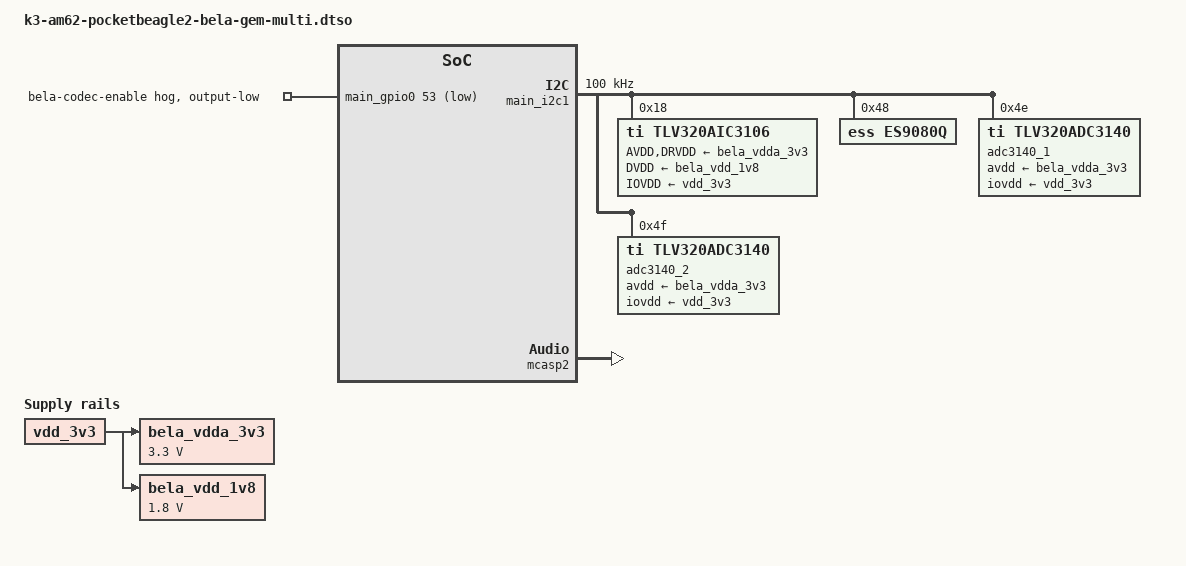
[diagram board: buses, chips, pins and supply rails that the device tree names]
// SPDX-License-Identifier: GPL-2.0
/*
 * PocketBeagle2 + Bela Gem Multi audio overlay
 *
 * Targets the custom machine driver am625-bela-gem.c
 * (compatible "ti,am625-bela-gem-multi").
 *
 * Codecs on main_i2c1 (bus shows as /dev/i2c-2):
 *   TLV320AIC3106  @0x18  — stereo I/O, clock slave (BCLK/WCLK from McASP)
 *   ES9080Q        @0x48  — 8-channel DAC, clock slave (write-only @0x4c)
 *   TLV320ADC3140  @0x4e  — 4-channel ADC #1, clock slave (capture)
 *   TLV320ADC3140  @0x4f  — 4-channel ADC #2, clock slave (capture)
 *   (ADC addresses confirmed with `i2cdetect -y 2` at bring-up; adjust reg if needed.)
 *
 * Clock topology (McASP is BCLK+WCLK master; AIC3106 and all other codecs are
 * clock slaves on the TDM bus):
 *   audio_refclk1 (12.288 MHz) -> P2.11 MCLK -> codec MCLK inputs
 *   mcasp2 fck (24.576 MHz, pinned via assigned-clock-rates) divided by 2 ->
 *   P2.19 BCLK (12.288 MHz) + P2.10 WCLK (48 kHz) -> all codec BCLK/WCLK inputs
 *   Machine driver does clk_get(dev,"mclk") + clk_prepare_enable(), so the
 *   sound node carries clocks=<&audio_refclk1>, clock-names="mclk".
 *
 * Shared McASP2 frame: 8 slots x 32-bit, DSP_B (TDM). Each codec uses its OWN
 * serializer (data pin) and emits/consumes its channels from slot 0 of that line:
 *   AXR0 (P2.05) TX -> TLV DIN   (playback, slots 0-1)
 *   AXR1 (P2.07) RX <- TLV DOUT  (capture,  slots 0-1)
 *   AXR6 (P1.04) TX -> ES9080Q DIN1 (8ch TDM8, slots 0-7; single data line)
 *   AXR4 (P1.02) RX <- ADC3140 #1 DOUT (4ch, slots 0-3)
 *   AXR8 (P2.31) RX <- ADC3140 #2 DOUT (4ch, slots 0-3)
 *
 * AXR direction = hardware ground truth (scope under Bela runtime + validated
 * Stereo overlay): AXR0=TX, AXR1=RX. serial-dir convention: 0=off, 1=TX, 2=RX.
 *
 * Pin map (PocketBeagle2 header -> AM62 pad, verified vs PB2-BELA.dtso):
 *   P1.33 I2C1_SDA   P1.36 I2C1_SCL
 *   P2.05 AXR0  P2.07 AXR1  P1.04 AXR6  P1.02 AXR4  P2.31 AXR8
 *   P2.10 AFSX/WCLK(out) P2.19 ACLKX/BCLK(out) P2.11 AUDIO_EXT_REFCLK1/MCLK(out)
 *   P2.18 GPIO0_53 -> ES9080 CHIP_EN / ADC_RST# (hogged active, needs JP8 bridged)
 */

#include <dt-bindings/gpio/gpio.h>
#include "k3-pinctrl.h"

/dts-v1/;
/plugin/;

&{/chosen} {
	overlays {
		k3-am62-pocketbeagle2-bela-gem-multi.kernel = __TIMESTAMP__;
	};
};

/* Regulators + machine-driver sound card */
&{/} {
	bela_vdda_3v3: regulator-bela-vdda-3v3 {
		compatible = "regulator-fixed";
		regulator-name = "bela_vdda_3v3";
		regulator-min-microvolt = <3300000>;
		regulator-max-microvolt = <3300000>;
		vin-supply = <&vdd_3v3>;
		regulator-always-on;
		regulator-boot-on;
	};

	bela_vdd_1v8: regulator-bela-vdd-1v8 {
		compatible = "regulator-fixed";
		regulator-name = "bela_vdd_1v8";
		regulator-min-microvolt = <1800000>;
		regulator-max-microvolt = <1800000>;
		vin-supply = <&vdd_3v3>;
		regulator-always-on;
		regulator-boot-on;
	};

	bela_multi_sound: sound {
		compatible = "ti,am625-bela-gem-multi";
		model = "BelaGemMulti";

		cpu-dai        = <&mcasp2>;
		aic3106-codec  = <&tlv320aic3106>;
		es9080q-codec  = <&es9080q>;
		adc3140-1-codec = <&adc3140_1>;
		adc3140-2-codec = <&adc3140_2>;

		/* machine driver: devm_clk_get(dev, "mclk") + clk_prepare_enable() */
		clocks = <&audio_refclk1>;
		clock-names = "mclk";
	};
};

&main_pmx0 {
	bela_multi_i2c1_pins: bela-multi-i2c1-pins {
		pinctrl-single,pins = <
			AM62X_IOPAD(0x01e8, PIN_INPUT_PULLUP, 0) /* (B17) I2C1_SCL, P1.36 AUD_SCL */
			AM62X_IOPAD(0x01ec, PIN_INPUT_PULLUP, 0) /* (A17) I2C1_SDA, P1.33 AUD_SDA */
		>;
	};

	/* I2C pull-up compensation (marginal cape routing) — as PB2-BELA.dtso */
	bela_multi_i2c1_pullup_sda: bela-multi-i2c1-pullup-sda-pins {
		pinctrl-single,pins = <
			AM62X_IOPAD(0x00e4, PIN_INPUT_PULLUP, 7) /* (AA23) GPIO0_56 pullup for SDA */
		>;
	};
	bela_multi_i2c1_pullup_scl: bela-multi-i2c1-pullup-scl-pins {
		pinctrl-single,pins = <
			AM62X_IOPAD(0x00e0, PIN_INPUT_PULLUP, 7) /* (V20) GPIO0_55 pullup for SCL */
		>;
	};

	bela_multi_audio_pins: bela-multi-audio-pins {
		pinctrl-single,pins = <
			AM62X_IOPAD(0x01d8, PIN_OUTPUT, 8) /* (C15) MCASP2_AXR0, P2.05 TX -> TLV DIN (playback) */
			AM62X_IOPAD(0x01dc, PIN_INPUT,  8) /* (E15) MCASP2_AXR1, P2.07 RX <- TLV DOUT (capture) */
			AM62X_IOPAD(0x0174, PIN_OUTPUT, 2) /* (AD21) MCASP2_AFSX,  P2.10 WCLK (McASP-driven, frame master) */
			AM62X_IOPAD(0x0178, PIN_OUTPUT, 2) /* (AC20) MCASP2_ACLKX, P2.19 BCLK (McASP-driven, bit-clock master) */
			AM62X_IOPAD(0x016c, PIN_OUTPUT, 2) /* (Y18) MCASP2_AXR6,  P1.04 TX -> ES9080Q DIN1 (8ch) */
			AM62X_IOPAD(0x0164, PIN_INPUT,  2) /* (AA19) MCASP2_AXR4, P1.02 RX <- ADC3140 #1 DOUT */
			AM62X_IOPAD(0x0170, PIN_INPUT,  5) /* (AA18) MCASP2_AXR8, P2.31 RX <- ADC3140 #2 DOUT */
		>;
	};

	bela_multi_mclk_pins: bela-multi-mclk-pins {
		pinctrl-single,pins = <
			AM62X_IOPAD(0x01d4, PIN_OUTPUT, 5) /* (B15) AUDIO_EXT_REFCLK1, P2.11 MCLK out */
		>;
	};

	bela_multi_ctrl_pins: bela-multi-ctrl-pins {
		pinctrl-single,pins = <
			AM62X_IOPAD(0x00d8, PIN_OUTPUT, 7) /* (V21) GPIO0_53, P2.18 ES9080 CHIP_EN / ADC_RST# */
		>;
	};
};

&audio_refclk1 {
	/* 12.288 MHz (96 MHz / 8). Machine driver enables this as "mclk". */
	assigned-clock-rates = <12288000>;
	pinctrl-names = "default";
	pinctrl-0 = <&bela_multi_mclk_pins>;
};

/*
 * GPIO0_53 (P2.18) is a SHARED codec control line:
 *   - ES9080Q CHIP_EN       (active-high enable, via JP8)
 *   - TLV320ADC3140 RESETN  (active-low reset, same physical net)
 *
 * It must be driven STATICALLY HIGH and held there. A static gpio-hog
 * (ACTIVE_LOW + output-low => raw pad HIGH) enables the ES9080Q and
 * simultaneously holds both ADC3140s out of reset. It must NOT be used as a
 * pulsed reset-gpios: asserting it low to "reset" the ADCs also drops ES9080Q
 * CHIP_EN, which then fails its I2C probe with -121 (EREMOTEIO). The ADCs do
 * not need a reset pulse here -- their supplies are stable at boot, so a
 * static raw-HIGH releases them cleanly.
 */
&main_gpio0 {
	pinctrl-names = "default";
	pinctrl-0 = <&bela_multi_ctrl_pins>;

	bela_codec_enable {
		gpio-hog;
		gpios = <53 GPIO_ACTIVE_LOW>;
		output-low;	/* ACTIVE_LOW + output-low => raw pad HIGH */
		line-name = "bela-codec-enable";
	};
};

&main_i2c1 {
	#address-cells = <1>;
	#size-cells = <0>;
	status = "okay";
	clock-frequency = <100000>;
	pinctrl-names = "default";
	pinctrl-0 = <&bela_multi_i2c1_pins>,
		    <&bela_multi_i2c1_pullup_sda>,
		    <&bela_multi_i2c1_pullup_scl>;

	tlv320aic3106: audio-codec@18 {
		compatible = "ti,tlv320aic3106";
		reg = <0x18>;
		#sound-dai-cells = <0>;
		clocks = <&audio_refclk1>;
		AVDD-supply  = <&bela_vdda_3v3>;
		DVDD-supply  = <&bela_vdd_1v8>;
		DRVDD-supply = <&bela_vdda_3v3>;
		IOVDD-supply = <&vdd_3v3>;
	};

	es9080q: dac@48 {
		compatible = "ess,es9080q";
		reg = <0x48>;
		#sound-dai-cells = <0>;
		ess,write-only-addr = <0x4c>;
		clocks = <&audio_refclk1>;
		clock-names = "mclk";
	};

	/*
	 * TLV320ADC3140 quad-channel ADCs. Both are TDM/DSP_B capture slaves,
	 * clocked by the AIC3106 BCLK/WCLK. Each drives its own McASP RX
	 * serializer (AXR4 / AXR8). avdd = 3.3V, iovdd = 3.3V (board rails).
	 * The on-chip areg LDO supplies the 1.8V analog domain (no "areg" phandle).
	 * RESETN shares GPIO0_53 with ES9080 CHIP_EN and is held HIGH by the
	 * bela_codec_enable hog above. We deliberately do NOT use reset-gpios here:
	 * a pulsed reset would also drop ES9080Q CHIP_EN and break its probe.
 */
	adc3140_1: adc@4e {
		compatible = "ti,tlv320adc3140";
		reg = <0x4e>;
		#sound-dai-cells = <0>;
		avdd-supply  = <&bela_vdda_3v3>;
		iovdd-supply = <&vdd_3v3>;
	};

	adc3140_2: adc@4f {
		compatible = "ti,tlv320adc3140";
		reg = <0x4f>;
		#sound-dai-cells = <0>;
		avdd-supply  = <&bela_vdda_3v3>;
		iovdd-supply = <&vdd_3v3>;
	};
};

/* McASP2 — shared TDM bus, BCLK/WCLK slave to TLV320AIC3106 */
&mcasp2 {
	#sound-dai-cells = <0>;
	pinctrl-names = "default";
	pinctrl-0 = <&bela_multi_audio_pins>;
	status = "okay";

	/*
	 * McASP2 is the BCLK + WCLK (frame) master for the whole TDM bus; all
	 * codecs are clock consumers. A stereo codec (TLV320AIC3106) cannot
	 * master a frame wider than its 2 channels, so the McASP generates the
	 * 8-slot frame instead. The functional clock is pinned to 24.576 MHz
	 * below, and the machine driver passes the same rate via set_sysclk so
	 * the McASP programs the BCLK divider: 24.576 MHz / 2 = 12.288 MHz
	 * (= 256 * 48 kHz = 8 slots * 32 bits * 48 kHz). auxclk-fs-ratio is
	 * also present for rate-constraint negotiation but is not sufficient
	 * alone (does not program the BCLK divider hardware).
	 */
	assigned-clocks = <&k3_clks 192 0>;
	assigned-clock-rates = <24576000>;

	auxclk-fs-ratio = <256>;

	op-mode   = <0>;     /* DAVINCI_MCASP_IIS_MODE */
	tdm-slots = <8>;     /* 8 x 32 = 256 BCLK/frame (= Bela kNumBits 256); machine driver re-programs masks per link */

	/*
	 * serial-dir convention: 0=inactive, 1=TX, 2=RX (AXR index = position).
	 *   AXR0 (P2.05) = TX (1) -> TLV DIN   (playback)
	 *   AXR1 (P2.07) = RX (2) <- TLV DOUT  (capture)
	 *   AXR4 (P1.02) = RX (2) <- ADC3140 #1 DOUT
	 *   AXR6 (P1.04) = TX (1) -> ES9080Q DIN1
	 *   AXR8 (P2.31) = RX (2) <- ADC3140 #2 DOUT
 */
	serial-dir = <
		1 2 0 0     /* AXR0=TX, AXR1=RX, AXR2=off, AXR3=off */
		2 0 1 0     /* AXR4=RX, AXR5=off, AXR6=TX, AXR7=off */
		2 0 0 0     /* AXR8=RX, ... */
		0 0 0 0
	>;

	tx-num-evt = <1>;
	rx-num-evt = <1>;
};
